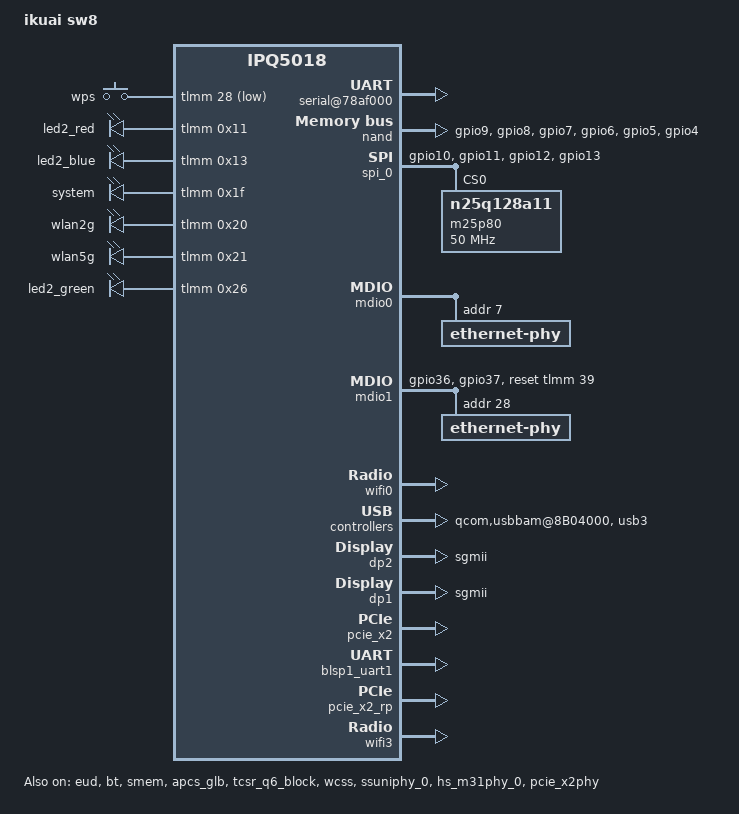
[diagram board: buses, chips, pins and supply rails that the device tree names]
/dts-v1/;

#include "ipq5018.dtsi"
/ {
	#address-cells = <0x2>;
	#size-cells = <0x2>;
	model = "ikuai sw8";
	compatible = "ikuai,sw8", "qcom,ipq5018-mp03.1", "qcom,ipq5018";
	interrupt-parent = <&intc>;
	aliases {
		led-boot = &led_system;
		led-failsafe = &led_system;
		led-running = &led_system;
		led-upgrade = &led_system;
		sdhc1 = &sdhc_1; /* SDC1 eMMC slot */
		serial0 = &blsp1_uart1;
		serial1 = &blsp1_uart2;
		ethernet0 = "/soc/dp1";
		ethernet1 = "/soc/dp2";
	};
	chosen {
		bootargs = "console=ttyMSM0,115200,n8 rw init=/init";
		bootargs-append = " root=/dev/ubiblock0_1 swiotlb=1 coherent_pool=2M";
		stdout-path = "serial0";
	};
	reserved-memory {
		q6_region: wcnss@4b000000 {
			no-map;
			reg = <0x0 0x4b000000 0x0 0x01700000>;
		};
		m3_dump@4c700000 {
			no-map;
			reg = <0x0 0x4c700000 0x0 0x100000>;
		};
		q6_etr_region:q6_etr_dump@4c800000 {
			no-map;
			reg = <0x0 0x4c800000 0x0 0x100000>;
		};
		q6_caldb_region:q6_caldb_region@4c900000 {
			no-map;
			reg = <0x0 0x4c900000 0x0 0x200000>;
		};
        qcn9000_pcie0: qcn9000_pcie0@4cb00000 {
		    no-map;
			reg = <0x0 0x4cb00000 0x0 0x1A00000>;
		};
		mhi_region1: dma_pool1@4e500000 {
			compatible = "shared-dma-pool";
			no-map;
			reg = <0x0 0x4e500000 0x0 0x00500000>;
		};
	};
	soc {
		serial@78af000 {
			status = "ok";
		};
		blsp1_uart2: serial@78b0000 {
			pinctrl-0 = <&blsp1_uart_pins>;
			pinctrl-names = "default";
		};
		qpic_bam: dma@7984000{
			status = "ok";
		};
		nand: qpic-nand@79b0000 {
			pinctrl-0 = <&qspi_nand_pins>;
			pinctrl-names = "default";
			status = "ok";
		};
		spi_0: spi@78b5000 { /* BLSP1 QUP0 */
			pinctrl-0 = <&blsp0_spi_pins>;
			pinctrl-names = "default";
			cs-select = <0>;
			status = "ok";
			m25p80@0 {
				#address-cells = <1>;
				#size-cells = <1>;
				reg = <0>;
				compatible = "n25q128a11";
				linux,modalias = "m25p80", "n25q128a11";
				spi-max-frequency = <50000000>;
				use-default-sizes;
			};
		};
		mdio0: mdio@88000 {
			compatible = "qcom,qca-mdio", "qcom,ipq40xx-mdio", "qcom,ipq5018-mdio";
			status = "ok";
			resets = <&gcc GCC_GEPHY_MDC_SW_ARES>;
			reset-names = "gephy_mdc_rst";
			ethernet-phy@0 {
				reg = <7>;
			};
		};
		mdio1: mdio@90000 {
			compatible = "qcom,qca-mdio";
			status = "ok";
			pinctrl-0 = <&mdio1_pins>;
			pinctrl-names = "default";
			reset-gpios = <&tlmm 39 GPIO_ACTIVE_HIGH>;
			phy-reset-gpio = <&tlmm 39 GPIO_ACTIVE_HIGH>;
			ethernet-phy@0 {
				reg = <28>;
			};
		};
		ess-instance {
			num_devices = <1>;
			ess-switch@0x39c00000 {
				compatible = "qcom,ess-switch-ipq50xx";
				switch_access_mode = "local bus";
				switch_mac_mode = <0xf>; /* mac mode for uniphy instance*/
				cmnblk_clk = "internal_96MHz"; /* cmnblk clk*/
				qcom,port_phyinfo {
					port@0 {
						port_id = <1>;
						phy_address = <7>;
						mdiobus = <&mdio0>;
					};
					port@1 {
						port_id = <2>;
						phy_address = <28>;
						mdiobus = <&mdio1>;
						port_mac_sel = "QGMAC_PORT";
					};
				};
				led_source@0 {
					source = <0>;
					mode = "normal";
					speed = "all";
					blink_en = "enable";
					active = "high";
				};
			};
		};
		wifi0: wifi@c000000 {
			qcom,bdf-addr = <0x4BA00000 0x4BA00000 0x4BA00000
						0x0 0x0>;
			qcom,caldb-addr = <0x4CA00000 0x4CA00000 0x4CA00000
						0x0 0x0>;
			qcom,caldb-size = <0x200000>;
			status = "ok";
		};
		ess-uniphy@98000 {
			compatible = "qcom,ess-uniphy";
			reg = <0x98000 0x800>;
			uniphy_access_mode = "local bus";
		};
		qcom,sps {
			status = "ok";
		};
		qcom,usbbam@8B04000 {
			status = "ok";
		};
		qcom,diag@0 {
			status = "ok";
		};
		dp2 {
			device_type = "network";
			compatible = "qcom,nss-dp";
			clocks = <&gcc GCC_SNOC_GMAC0_AXI_CLK>;
			clock-names = "nss-snoc-gmac-axi-clk";
			qcom,id = <1>;
			reg = <0x39C00000 0x10000>;
			interrupts = <GIC_SPI 101 IRQ_TYPE_LEVEL_HIGH>;
			qcom,mactype = <2>;
			qcom,link-poll = <1>;
			qcom,phy-mdio-addr = <7>;
			mdio-bus = <&mdio0>;
			local-mac-address = [000000000000];
			phy-mode = "sgmii";
			label = "lan";
		};
		dp1 {
			device_type = "network";
			compatible = "qcom,nss-dp";
			clocks = <&gcc GCC_SNOC_GMAC1_AXI_CLK>;
			clock-names = "nss-snoc-gmac-axi-clk";
			qcom,id = <2>;
			reg = <0x39D00000 0x10000>;
			interrupts = <GIC_SPI 109 IRQ_TYPE_LEVEL_HIGH>;
			qcom,mactype = <2>;
			qcom,link-poll = <1>;
			qcom,phy-mdio-addr = <28>;
			mdio-bus = <&mdio1>;
			local-mac-address = [000000000000];
			phy-mode = "sgmii";
			label = "wan";
		};
		rpm_etm0 {
			status = "disabled";
		};
		lpass: lpass@0xA000000{
			status = "disabled";
		};
		pcm: pcm@0xA3C0000{
			pinctrl-0 = <&audio_pins>;
			pinctrl-names = "default";
			status = "disabled";
		};
		pcm_lb: pcm_lb@0 {
			status = "disabled";
		};
	};
	thermal-zones {
		status = "ok";
	};
};
&tlmm {
	pinctrl-0 = <&blsp0_uart_pins &phy_led_pins>;
	pinctrl-names = "default";
	blsp0_uart_pins: blsp0_uart_pins {
		blsp0_uart_rx_tx {
			pins = "gpio20", "gpio21";
			function = "blsp0_uart0";
			bias-disable;
		};
	};
	blsp1_uart_pins: blsp1_uart_pins {
		blsp1_uart_rx_tx {
			pins = "gpio23", "gpio25", "gpio24", "gpio26";
			function = "blsp1_uart2";
			bias-disable;
		};
	};
	blsp0_spi_pins: blsp0_spi_pins {
		mux {
			pins = "gpio10", "gpio11", "gpio12", "gpio13";
			function = "blsp0_spi";
			drive-strength = <2>;
			bias-disable;
		};
	};
	qspi_nand_pins: qspi_nand_pins {
		qspi_clock {
				pins = "gpio9";
				function = "qspi_clk";
				drive-strength = <8>;
				bias-disable;
			};
		qspi_cs {
				pins = "gpio8";
				function = "qspi_cs";
				drive-strength = <8>;
				bias-disable;
			};
		qspi_data_0 {
				pins = "gpio7";
				function = "qspi0";
				drive-strength = <8>;
				bias-disable;
			};
		qspi_data_1 {
				pins = "gpio6";
				function = "qspi1";
				drive-strength = <8>;
				bias-disable;
			};
		qspi_data_2 {
				pins = "gpio5";
				function = "qspi2";
				drive-strength = <8>;
				bias-disable;
			};
		qspi_data_3 {
				pins = "gpio4";
				function = "qspi3";
				drive-strength = <8>;
				bias-disable;
			};
	};

	leds_pins: leds_pinmux {

		led2_blue {
			bias-pull-down;
			drive-strength = <0x08>;
			function = "gpio";
			pins = "gpio19";
		};

		led2_green {
			bias-pull-down;
			drive-strength = <0x08>;
			function = "gpio";
			pins = "gpio38";
		};

		led2_red {
			bias-pull-down;
			drive-strength = <0x08>;
			function = "gpio";
			pins = "gpio17";
		};

		sysled_blue {
			bias-pull-down;
			drive-strength = <0x08>;
			function = "gpio";
			pins = "gpio33";
		};

		sysled_green {
			bias-pull-down;
			drive-strength = <0x08>;
			function = "gpio";
			pins = "gpio32";
		};

		sysled_red {
			bias-pull-down;
			drive-strength = <0x08>;
			function = "gpio";
			pins = "gpio31";
		};
	};


	mdio1_pins: mdio_pinmux {
		mux_0 {
			pins = "gpio36";
			function = "mdc";
			drive-strength = <8>;
			bias-pull-up;
		};
		mux_1 {
			pins = "gpio37";
			function = "mdio";
			drive-strength = <8>;
			bias-pull-up;
		};
	};

	phy_led_pins: phy_led_pins {
		gephy_led_pin {
			pins = "gpio46";
			function = "led0";
			drive-strength = <8>;
			bias-pull-down;
		};
	};
	i2c_pins: i2c_pins {
		i2c_scl {
			pins = "gpio25";
			function = "blsp2_i2c1";
			drive-strength = <8>;
			bias-disable;
		};
		i2c_sda {
			pins = "gpio26";
			function = "blsp2_i2c1";
			drive-strength = <8>;
			bias-disable;
		};
	};
	button_pins: button_pins {
		wps_button {
			pins = "gpio38";
			function = "gpio";
			drive-strength = <8>;
			bias-pull-up;
		};
	};
	audio_pins: audio_pinmux {
		mux_1 {
			pins = "gpio24";
			function = "audio_rxbclk";
			drive-strength = <8>;
			bias-pull-down;
		};
		mux_2 {
			pins = "gpio25";
			function = "audio_rxfsync";
			drive-strength = <8>;
			bias-pull-down;
		};
		mux_3 {
			pins = "gpio26";
			function = "audio_rxd";
			drive-strength = <8>;
			bias-pull-down;
		};
		mux_4 {
			pins = "gpio27";
			function = "audio_txmclk";
			drive-strength = <8>;
			bias-pull-down;
		};
		mux_5 {
			pins = "gpio28";
			function = "audio_txbclk";
			drive-strength = <8>;
			bias-pull-down;
		};
		mux_6 {
			pins = "gpio29";
			function = "audio_txfsync";
			drive-strength = <8>;
			bias-pull-down;
		};
		mux_7 {
			pins = "gpio30";
			function = "audio_txd";
			drive-strength = <8>;
			bias-pull-down;
		};
	};
};
&soc {
	gpio_keys {
		compatible = "gpio-keys";
		pinctrl-0 = <&button_pins>;
		pinctrl-names = "default";
		button@1 {
			label = "wps";
			linux,code = <KEY_WPS_BUTTON>;
			gpios = <&tlmm 28 GPIO_ACTIVE_LOW>;
			linux,input-type = <1>;
			debounce-interval = <60>;
		};
	};
	leds {
		compatible = "gpio-leds";
		pinctrl-0 = <&leds_pins>;
		pinctrl-names = "default";
		status = "ok";

		led@17 {
			default-state = "off";
			gpios = <&tlmm 0x11 0x00>;
			label = "led2_red";
			color = "red";
		};

		led@19 {
			default-state = "off";
			gpios = <&tlmm 0x13 0x00>;
			label = "led2_blue";
			color = "blue";
		};

		led_system: led@31 {
			default-state = "off";
			gpios = <&tlmm 0x1f 0x00>;
			label = "system";
			color = "red";
		};

		led@32 {
			default-state = "off";
			gpios = <&tlmm 0x20 0x00>;
			label = "wlan2g";
			color = "green";
		};

		led@33 {
			default-state = "off";
			gpios = <&tlmm 0x21 0x00>;
			label = "wlan5g";
			color = "blue";
		};

		led@38 {
			default-state = "off";
			gpios = <&tlmm 0x26 0x00>;
			label = "led2_green";
		};
	};
};

&usb3 {
	qcom,multiplexed-phy;
	qcom,phy-mux-regs = <&tcsr_q6_block 0x2540>;
	device-power-gpio = <&tlmm 24 1>;
	status = "ok";
};

&eud {
	status = "ok";
};

&pcie_x1 {
	status = "disabled";
	perst-gpio = <&tlmm 18 1>;
};

&pcie_x2 {
	status = "ok";
	perst-gpio = <&tlmm 15 1>;
};

&bt {
	status = "ok";
};

&smem {
	status = "ok";
};

&apcs_glb {
	status = "ok";
};

&tcsr_q6_block {
	status = "ok";
};

&wcss {
	status = "ok";
};

&q6v5_wcss {
	memory-region = <&q6_region>, <&q6_etr_region>, <&q6_caldb_region>;
};

&i2c_0 {
	pinctrl-0 = <&i2c_pins>;
	pinctrl-names = "default";
	status = "disabled";
};

&blsp1_uart1 {
	status = "ok";
};

&ssuniphy_0 {
	status = "ok";
};

&hs_m31phy_0 {
	status = "ok";
};

&pcie_x1phy {
	status = "disabled";
};

&pcie_x2phy {
	status = "ok";
};

&pcie_x1_rp {
	status = "disabled";
	mhi_0: qcom,mhi@0 {
		reg = <0 0 0 0 0 >;
	};
};

&pcie_x2_rp {
    status = "ok";

    mhi_1: qcom,mhi@1 {
        reg = <0 0 0 0 0 >;
        qrtr_instance_id = <0x20>;
        qti,disable-rddm-prealloc;
        qti,rddm-seg-len = <0x1000>;
        #address-cells = <0x2>;
        #size-cells = <0x2>;
#if defined(__CNSS2__)
        memory-region = <0>,<&mhi_region1>;
#else
        base-addr = <0x4CB00000>;
        m3-dump-addr = <0x4DF00000>;
        etr-addr = <0x4E000000>;
        qcom,caldb-addr = <0x4E100000>;
        pageable-addr = <0x4E900000>;
        qcom,tgt-mem-mode = <0x1>;
#endif
    };
};

&wifi0 {
	/* IPQ5018 */
	qcom,board_id = <0x24>;
	qcom,bdf-addr = <0x4BA00000 0x4BA00000 0x4BA00000 0x0 0x0>;
	qcom,caldb-addr = <0x4C900000 0x4C900000 0x0 0x0 0x0>;
	qcom,caldb-size = <0x200000>;
	status = "ok";
};
&wifi3 {
	/* QCN9000 5G */
	board_id = <0xa0>;
	hremote_node = <&qcn9000_pcie0>;
    base-addr = <0x4CB00000>;
    m3-dump-addr = <0x4D700000>;
    etr-addr = <0x4D800000>;
    caldb-addr = <0x4D900000>;
    pageable-addr = <0x4E100000>;
    caldb-size = <0x800000>;
    hremote-size = <0xC00000>;
    tgt-mem-mode = <0x1>;
    pageable-size = <0x400000>;
	status = "ok";
};

